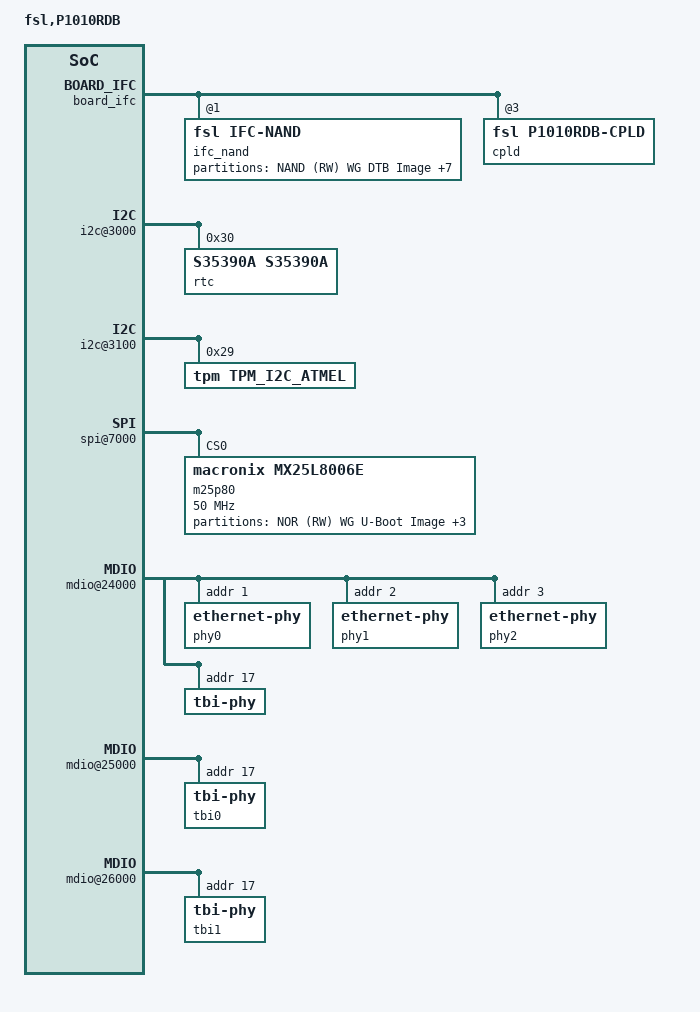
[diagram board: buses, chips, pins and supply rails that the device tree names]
/*
 * P1010 RDB Device Tree Source
 *
 * Copyright 2011 Freescale Semiconductor Inc.
 *
 * This program is free software; you can redistribute  it and/or modify it
 * under  the terms of  the GNU General  Public License as published by the
 * Free Software Foundation;  either version 2 of the  License, or (at your
 * option) any later version.
 */

/include/ "fsl/wgdixie-pre.dtsi"

/ {
	model = "fsl,P1010RDB";
	compatible = "fsl,P1010RDB";

	/include/ "p1010rdb_32b.dtsi"
};

/* /include/ "wg_dixie.dtsi" */
&board_ifc {
	ifc_nand: nand@1,0 {
		#address-cells = <1>;
		#size-cells = <1>;
		compatible = "fsl,ifc-nand";
		reg = <0x1 0x0 0x10000>;
	};

	cpld@3,0 {
		#address-cells = <1>;
		#size-cells = <1>;
		compatible = "fsl,p1010rdb-cpld";
		reg = <0x3 0x0 0x0000020>;
		bank-width = <1>;
		device-width = <1>;
	};
};

&board_soc {
	i2c@3000 {
		/* I2C-BUS 1 */
		rtc@30 {
			compatible = "S35390A,s35390a";
			reg = <0x30>;
		};
	};

	i2c@3100 {
		/* I2C-BUS 2 */
		tpm@29 {
			compatible = "tpm,tpm_i2c_atmel";
			reg = <0x29>;
		};
	};




	spi@7000 {
		m25p80@0 {
			#address-cells = <1>;
			#size-cells = <1>;
			compatible = "macronix,mx25l8006e";
			reg = <0>;
			linux,modalias = "m25p80";
			modal = "mx25l8006e";
			spi-max-frequency = <50000000>;
			mode = <0>;

			/* **NEW** SPIFlash mapping for Dixie (4 partitions Only) */
			partition@0 {
				// 512KB
				reg = <0x0 0x0090000>;
				label = "NOR (RW) WG U-Boot Image";
			};
			partition@90000 {
				// 64K
				reg = <0x0090000 0x00010000>;
				label = "NOR (RO) WG U-Boot ENV"; 
			}; 
			partition@a0000 {
				// 128KB
				reg = <0x000a0000 0x00020000>;
				label = "NOR (RW) WG CFGXXX (unused)";
			};
			partition@b0000 {
				// 256KB
				reg = <0x000c0000 0x00040000>;
				label = "NOR (RW) WG CFG0 (DeviceID info + bootopt)";
			};
		};

	};

	usb@22000 {
		phy_type = "utmi";
		dr_mode = "host";
	};

	mdio@24000 {
		phy0: ethernet-phy@0 {
			reg = <0x1>;
		};

		phy1: ethernet-phy@1 {
			reg = <0x2>;
		};

		phy2: ethernet-phy@2 {
			reg = <0x3>;
		};

		tbi-phy@11 {
			device_type = "tbi-phy";
			reg = <0x11>;
		};
	};

	mdio@25000 {
		tbi0: tbi-phy@11 {
			reg = <0x11>;
			device_type = "tbi-phy";
		};
	};

	mdio@26000 {
		tbi1: tbi-phy@11 {
			reg = <0x11>;
			device_type = "tbi-phy";
		};
	};

	ptp_timer: ptimer@b0e00 {
		compatible = "fsl,gianfar-ptp-timer";
		reg = <0xb0e00 0xb0>;
		fsl,ts-to-buffer;
		fsl,tmr-prsc = <0x2>;
		fsl,clock-source-select = <1>;
	};

	ptp_clock@b0e00 {
		compatible = "fsl,etsec-ptp";
		reg = <0xb0e00 0xb0>;
		interrupts = <68 2 0 0 69 2 0 0>;
		fsl,tclk-period	= <10>;
		fsl,tmr-prsc	= <2>;
		fsl,tmr-add	= <0x80000016>;
		fsl,tmr-fiper1	= <0x3b9ac9f6>;
		fsl,tmr-fiper2	= <0x00018696>;
		fsl,max-adj	= <199999999>;
	};

	enet0: ethernet@b0000 {
		phy-handle = <&phy0>;
		phy-connection-type = "rgmii-id";
		ptimer-handle = <&ptp_timer>;
	};

	enet1: ethernet@b1000 {
		phy-handle = <&phy1>;
		tbi-handle = <&tbi0>;
		phy-connection-type = "sgmii";
		ptimer-handle = <&ptp_timer>;
	};

	enet2: ethernet@b2000 {
		phy-handle = <&phy2>;
		tbi-handle = <&tbi1>;
		phy-connection-type = "sgmii";
		ptimer-handle = <&ptp_timer>;
	};
};

/* /include/ "wg_dixie-pa.dtsi" */
&ifc_nand {
	partition@00000000 {
		/* ACTUAL: NAND 128KB for DTB Image partiton */
		reg = <0x00000000 0x00020000>;
		label = "NAND (RW) WG DTB Image";
	};

	/* rest of the NAND partitions */
	partition@00020000 {
		/* 5MB for sysa kernel */
		reg = <0x00020000 0x00500000>;
		label = "NAND (RW) WG SYSA Kernel";
	};

	partition@00520000 {
		/* 242MB for sysa code */
		reg = <0x00520000 0xf200000>;
		label = "NAND (RW) WG SYSA_CODE";
	};

	partition@07f00000 {
		/* 5MB for sysb kernel */
		reg = <0x0f720000 0x00500000>;
		label = "NAND (RW) WG SYSB Kernel";
	};

	partition@08400000 {
		/* 24MB for sysb code */
		reg = <0x0fc20000 0x01800000>;
		label = "NAND (RW) WG SYSB_CODE";
	};

	partition@09c00000 {
		/* 5MB for sysa2 kernel */
		reg = <0x11420000 0x00500000>;
		label = "NAND (RW) WG SYSA2 Kernel";
	};

	partition@0a100000 {
		/* 121MB for sysa2 code */
		reg = <0x11920000 0x7900000>;
		label = "NAND (RW) WG SYSA_CODE2";
	};

	partition@11ae0000 {
		/* 621MB for sysa data */
		reg = <0x19220000 0x26de0000>;
		label = "NAND (RW) WG SYSA_DATA";
	};
};

&phy0 {
	interrupts = <0 1 0 0>;
};

&phy1 {
	interrupts = <2 1 0 0>;
};

&phy2 {
	interrupts = <1 1 0 0>;
};

/include/ "fsl/wgdixie-post.dtsi"
